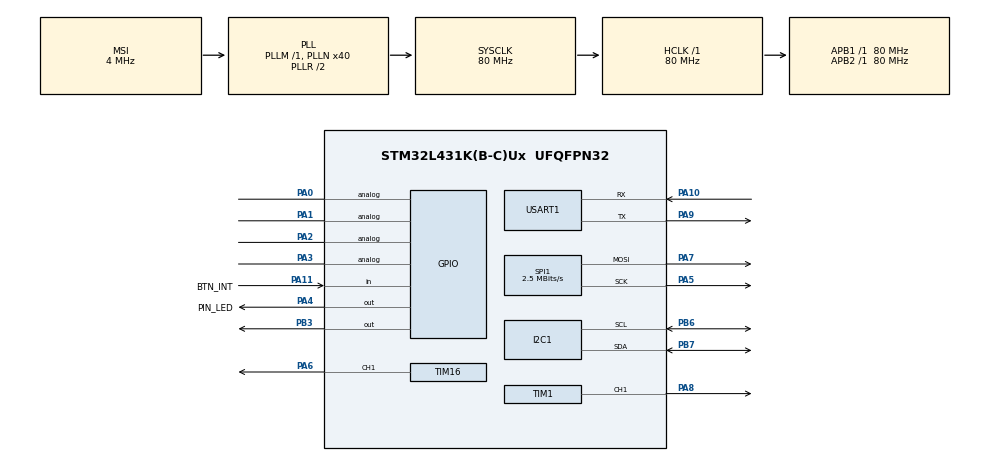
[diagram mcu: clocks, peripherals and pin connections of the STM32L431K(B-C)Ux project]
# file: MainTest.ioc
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FREERTOS.HEAP_NUMBER=3
FREERTOS.Tasks01=defaultTask,24,512,StartDefaultTask,Default,NULL,Static,defaultTaskBuffer,defaultTaskControlBlock
FREERTOS.configCHECK_FOR_STACK_OVERFLOW=2
FREERTOS.configENABLE_FPU=1
FREERTOS.configIDLE_SHOULD_YIELD=1
FREERTOS.configTOTAL_HEAP_SIZE=512
FREERTOS.configUSE_NEWLIB_REENTRANT=1
FREERTOS.copyHeapFile=0
I2C1.Timeout=0x000083D0
I2C1.Timing=0x10909CEC
Mcu.Family=STM32L4
Mcu.Name=STM32L431K(B-C)Ux
Mcu.Package=UFQFPN32
NVIC.PriorityGroup=NVIC_PRIORITYGROUP_4
NVIC.SPI1_IRQn=true\:0\:0\:false\:true\:true\:1\:false\:true\:true
NVIC.TIM6_DAC_IRQn=true\:0\:0\:false\:false\:true\:false\:false\:true
NVIC.TimeBase=TIM6_DAC_IRQn
NVIC.TimeBaseIP=TIM6
NVIC.USART1_IRQn=true\:10\:0\:true\:false\:false\:true\:true\:false
PA0.Signal=GPIO_Analog
PA1.Signal=GPIO_Analog
PA10.Mode=Asynchronous
PA10.Signal=USART1_RX
PA11.GPIO_Label=BTN_INT
PA11.GPIO_PuPd=GPIO_PULLUP
PA11.Signal=GPIO_Input
PA2.Signal=GPIO_Analog
PA3.Signal=GPIO_Analog
PA4.GPIO_Label=PIN_LED
PA4.Signal=GPIO_Output
PA5.Mode=TX_Only_Simplex_Unidirect_Master
PA5.Signal=SPI1_SCK
PA6.Signal=S_TIM16_CH1
PA7.Mode=TX_Only_Simplex_Unidirect_Master
PA7.Signal=SPI1_MOSI
PA8.Signal=S_TIM1_CH1
PA9.Mode=Asynchronous
PA9.Signal=USART1_TX
PB3\ (JTDO-TRACESWO).Signal=GPIO_Output
PB6.Mode=I2C
PB6.Signal=I2C1_SCL
PB7.Mode=I2C
PB7.Signal=I2C1_SDA
ProjectManager.HeapSize=0x200
ProjectManager.StackSize=0x400
ProjectManager.TargetToolchain=STM32CubeIDE
RCC.AHBFreq_Value=80000000
RCC.APB1Freq_Value=80000000
RCC.APB1TimFreq_Value=80000000
RCC.APB2Freq_Value=80000000
RCC.APB2TimFreq_Value=80000000
RCC.CortexFreq_Value=80000000
RCC.HCLKFreq_Value=80000000
RCC.HSE_VALUE=8000000
RCC.HSI48_VALUE=48000000
RCC.HSI_VALUE=16000000
RCC.LSE_VALUE=32768
RCC.MSI_VALUE=4000000
RCC.PLLN=40
RCC.SYSCLKFreq_VALUE=80000000
RCC.SYSCLKSource=RCC_SYSCLKSOURCE_PLLCLK
RCC.VCOOutputFreq_Value=160000000
SH.S_TIM16_CH1.0=TIM16_CH1,Output Compare1 CH1
SH.S_TIM1_CH1.0=TIM1_CH1,PWM Generation1 CH1
SPI1.BaudRatePrescaler=SPI_BAUDRATEPRESCALER_32
SPI1.CalculateBaudRate=2.5 MBits/s
SPI1.DataSize=SPI_DATASIZE_6BIT
SPI1.Direction=SPI_DIRECTION_2LINES
SPI1.FirstBit=SPI_FIRSTBIT_LSB
SPI1.Mode=SPI_MODE_MASTER
SPI1.VirtualType=VM_MASTER
TIM1.Channel-PWM\ Generation1\ CH1=TIM_CHANNEL_1
TIM1.CounterMode=TIM_COUNTERMODE_DOWN
TIM1.Period=40
TIM1.Prescaler=2000
TIM1.Pulse-PWM\ Generation1\ CH1=20
TIM16.Channel=TIM_CHANNEL_1
TIM16.OCMode_1=TIM_OCMODE_TOGGLE
TIM16.Prescaler=2000
TIM2.Prescaler=1
USART1.VirtualMode-Asynchronous=VM_ASYNC
VP_FREERTOS_VS_CMSIS_V2.Mode=CMSIS_V2
VP_SYS_VS_tim6.Mode=TIM6
VP_TIM16_VS_ClockSourceINT.Mode=Enable_Timer
VP_TIM1_VS_ClockSourceINT.Mode=Internal
VP_TIM2_VS_ClockSourceINT.Mode=Internal
board=custom

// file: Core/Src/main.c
/* USER CODE BEGIN Header */
/**
  ******************************************************************************
  * @file           : main.c
  * @brief          : Main program body
  ******************************************************************************
  * @attention
  *
  * <h2><center>&copy; Copyright (c) 2020 STMicroelectronics.
  * All rights reserved.</center></h2>
  *
  * This software component is licensed by ST under BSD 3-Clause license,
  * the "License"; You may not use this file except in compliance with the
  * License. You may obtain a copy of the License at:
  *                        opensource.org/licenses/BSD-3-Clause
  *
  ******************************************************************************
  */
/* USER CODE END Header */

#include "main.h"
#include "cmsis_os.h"

/* USER CODE BEGIN Includes */
#include "glow_test.h"
/* USER CODE END Includes */

typedef StaticTask_t osStaticThreadDef_t;

I2C_HandleTypeDef hi2c1;

SPI_HandleTypeDef hspi1;

TIM_HandleTypeDef htim1;
TIM_HandleTypeDef htim2;
TIM_HandleTypeDef htim16;

/* Definitions for defaultTask */
osThreadId_t defaultTaskHandle;
uint32_t defaultTaskBuffer[ 512 ];
osStaticThreadDef_t defaultTaskControlBlock;
const osThreadAttr_t defaultTask_attributes = {
  .name = "defaultTask",
  .stack_mem = &defaultTaskBuffer[0],
  .stack_size = sizeof(defaultTaskBuffer),
  .cb_mem = &defaultTaskControlBlock,
  .cb_size = sizeof(defaultTaskControlBlock),
  .priority = (osPriority_t) osPriorityNormal,
};

void SystemClock_Config(void);
static void MX_GPIO_Init(void);
static void MX_I2C1_Init(void);
static void MX_SPI1_Init(void);
static void MX_TIM1_Init(void);
static void MX_TIM2_Init(void);
static void MX_TIM16_Init(void);
static void MX_USART1_UART_Init(void);
void StartDefaultTask(void *argument);

static void MX_NVIC_Init(void);

/* USER CODE BEGIN 0 */
void SWO_Init() {
  uint32_t SWOSpeed = 64000; /* default 64k baud rate */
  uint32_t SWOPrescaler = (80000000/ SWOSpeed) - 1; /* SWOSpeed in Hz, note that cpuCoreFreqHz is expected to be match the CPU core clock */

  *((volatile unsigned *)(ITM_BASE + 0x00FB0)) = 0xC5ACCE55; /* ITM Lock Access Register, C5ACCE55 enables more write access to Control Register 0xE00 :: 0xFFC */

  CoreDebug->DEMCR = CoreDebug_DEMCR_TRCENA_Msk; /* enable trace in core debug */
    *((volatile unsigned *)(ITM_BASE + 0x400F0)) = 0x00000002; /* "Selected PIN Protocol Register": Select which protocol to use for trace output (2: SWO NRZ, 1: SWO Manchester encoding) */
    *((volatile unsigned *)(ITM_BASE + 0x40010)) = SWOPrescaler; /* "Async Clock Prescaler Register". Scale the baud rate of the asynchronous output */
    ITM->TCR = ITM_TCR_TraceBusID_Msk | ITM_TCR_SWOENA_Msk | ITM_TCR_SYNCENA_Msk | ITM_TCR_ITMENA_Msk; /* ITM Trace Control Register */
    ITM->TPR = ITM_TPR_PRIVMASK_Msk; /* ITM Trace Privilege Register */
    ITM->TER = 1; /* ITM Trace Enable Register. Enabled tracing on stimulus ports. One bit per stimulus port. */
    *((volatile unsigned *)(ITM_BASE + 0x01000)) = 0x400003FE; /* DWT_CTRL */
}
/* USER CODE END 0 */

int main(void)
{

  /* MCU Configuration--------------------------------------------------------*/

  /* Reset of all peripherals, Initializes the Flash interface and the Systick. */
  HAL_Init();

  /* Configure the system clock */
  SystemClock_Config();

  /* Initialize all configured peripherals */
  MX_GPIO_Init();
  MX_I2C1_Init();
  MX_SPI1_Init();
  MX_TIM1_Init();
  MX_TIM2_Init();
  MX_TIM16_Init();
  MX_USART1_UART_Init();

  /* Initialize interrupts */
  MX_NVIC_Init();
  /* USER CODE BEGIN 2 */
  SWO_Init();
  /* USER CODE END 2 */

  /* Init scheduler */
  osKernelInitialize();

  /* Create the thread(s) */
  /* creation of defaultTask */
  defaultTaskHandle = osThreadNew(StartDefaultTask, NULL, &defaultTask_attributes);

  /* Start scheduler */
  osKernelStart();

  /* We should never get here as control is now taken by the scheduler */
  /* Infinite loop */
  while (1)
  {

  }
}

void SystemClock_Config(void)
{
  RCC_OscInitTypeDef RCC_OscInitStruct = {0};
  RCC_ClkInitTypeDef RCC_ClkInitStruct = {0};
  RCC_PeriphCLKInitTypeDef PeriphClkInit = {0};

  /** Initializes the CPU, AHB and APB busses clocks
  */
  RCC_OscInitStruct.OscillatorType = RCC_OSCILLATORTYPE_MSI;
  RCC_OscInitStruct.MSIState = RCC_MSI_ON;
  RCC_OscInitStruct.MSICalibrationValue = 0;
  RCC_OscInitStruct.MSIClockRange = RCC_MSIRANGE_6;
  RCC_OscInitStruct.PLL.PLLState = RCC_PLL_ON;
  RCC_OscInitStruct.PLL.PLLSource = RCC_PLLSOURCE_MSI;
  RCC_OscInitStruct.PLL.PLLM = 1;
  RCC_OscInitStruct.PLL.PLLN = 40;
  RCC_OscInitStruct.PLL.PLLP = RCC_PLLP_DIV7;
  RCC_OscInitStruct.PLL.PLLQ = RCC_PLLQ_DIV2;
  RCC_OscInitStruct.PLL.PLLR = RCC_PLLR_DIV2;
  if (HAL_RCC_OscConfig(&RCC_OscInitStruct) != HAL_OK)
  {
    Error_Handler();
  }
  /** Initializes the CPU, AHB and APB busses clocks
  */
  RCC_ClkInitStruct.ClockType = RCC_CLOCKTYPE_HCLK|RCC_CLOCKTYPE_SYSCLK
                              |RCC_CLOCKTYPE_PCLK1|RCC_CLOCKTYPE_PCLK2;
  RCC_ClkInitStruct.SYSCLKSource = RCC_SYSCLKSOURCE_PLLCLK;
  RCC_ClkInitStruct.AHBCLKDivider = RCC_SYSCLK_DIV1;
  RCC_ClkInitStruct.APB1CLKDivider = RCC_HCLK_DIV1;
  RCC_ClkInitStruct.APB2CLKDivider = RCC_HCLK_DIV1;

  if (HAL_RCC_ClockConfig(&RCC_ClkInitStruct, FLASH_LATENCY_4) != HAL_OK)
  {
    Error_Handler();
  }
  PeriphClkInit.PeriphClockSelection = RCC_PERIPHCLK_USART1|RCC_PERIPHCLK_I2C1;
  PeriphClkInit.Usart1ClockSelection = RCC_USART1CLKSOURCE_PCLK2;
  PeriphClkInit.I2c1ClockSelection = RCC_I2C1CLKSOURCE_PCLK1;
  if (HAL_RCCEx_PeriphCLKConfig(&PeriphClkInit) != HAL_OK)
  {
    Error_Handler();
  }
  /** Configure the main internal regulator output voltage
  */
  if (HAL_PWREx_ControlVoltageScaling(PWR_REGULATOR_VOLTAGE_SCALE1) != HAL_OK)
  {
    Error_Handler();
  }
}

/**
  * @brief NVIC Configuration.
  * @retval None
  */
static void MX_NVIC_Init(void)
{
  /* SPI1_IRQn interrupt configuration */
  HAL_NVIC_SetPriority(SPI1_IRQn, 0, 0);
  HAL_NVIC_EnableIRQ(SPI1_IRQn);
}

static void MX_I2C1_Init(void)
{

  hi2c1.Instance = I2C1;
  hi2c1.Init.Timing = 0x10909CEC;
  hi2c1.Init.OwnAddress1 = 0;
  hi2c1.Init.AddressingMode = I2C_ADDRESSINGMODE_7BIT;
  hi2c1.Init.DualAddressMode = I2C_DUALADDRESS_DISABLE;
  hi2c1.Init.OwnAddress2 = 0;
  hi2c1.Init.OwnAddress2Masks = I2C_OA2_NOMASK;
  hi2c1.Init.GeneralCallMode = I2C_GENERALCALL_DISABLE;
  hi2c1.Init.NoStretchMode = I2C_NOSTRETCH_DISABLE;
  if (HAL_I2C_Init(&hi2c1) != HAL_OK)
  {
    Error_Handler();
  }
  /** Configure Analogue filter
  */
  if (HAL_I2CEx_ConfigAnalogFilter(&hi2c1, I2C_ANALOGFILTER_ENABLE) != HAL_OK)
  {
    Error_Handler();
  }
  /** Configure Digital filter
  */
  if (HAL_I2CEx_ConfigDigitalFilter(&hi2c1, 0) != HAL_OK)
  {
    Error_Handler();
  }

}

static void MX_SPI1_Init(void)
{

  /* SPI1 parameter configuration*/
  hspi1.Instance = SPI1;
  hspi1.Init.Mode = SPI_MODE_MASTER;
  hspi1.Init.Direction = SPI_DIRECTION_2LINES;
  hspi1.Init.DataSize = SPI_DATASIZE_6BIT;
  hspi1.Init.CLKPolarity = SPI_POLARITY_LOW;
  hspi1.Init.CLKPhase = SPI_PHASE_1EDGE;
  hspi1.Init.NSS = SPI_NSS_SOFT;
  hspi1.Init.BaudRatePrescaler = SPI_BAUDRATEPRESCALER_32;
  hspi1.Init.FirstBit = SPI_FIRSTBIT_LSB;
  hspi1.Init.TIMode = SPI_TIMODE_DISABLE;
  hspi1.Init.CRCCalculation = SPI_CRCCALCULATION_DISABLE;
  hspi1.Init.CRCPolynomial = 7;
  hspi1.Init.CRCLength = SPI_CRC_LENGTH_DATASIZE;
  hspi1.Init.NSSPMode = SPI_NSS_PULSE_ENABLE;
  if (HAL_SPI_Init(&hspi1) != HAL_OK)
  {
    Error_Handler();
  }

}

static void MX_TIM1_Init(void)
{

  TIM_ClockConfigTypeDef sClockSourceConfig = {0};
  TIM_MasterConfigTypeDef sMasterConfig = {0};
  TIM_OC_InitTypeDef sConfigOC = {0};
  TIM_BreakDeadTimeConfigTypeDef sBreakDeadTimeConfig = {0};

  htim1.Instance = TIM1;
  htim1.Init.Prescaler = 2000;
  htim1.Init.CounterMode = TIM_COUNTERMODE_DOWN;
  htim1.Init.Period = 40;
  htim1.Init.ClockDivision = TIM_CLOCKDIVISION_DIV1;
  htim1.Init.RepetitionCounter = 0;
  htim1.Init.AutoReloadPreload = TIM_AUTORELOAD_PRELOAD_DISABLE;
  if (HAL_TIM_Base_Init(&htim1) != HAL_OK)
  {
    Error_Handler();
  }
  sClockSourceConfig.ClockSource = TIM_CLOCKSOURCE_INTERNAL;
  if (HAL_TIM_ConfigClockSource(&htim1, &sClockSourceConfig) != HAL_OK)
  {
    Error_Handler();
  }
  if (HAL_TIM_PWM_Init(&htim1) != HAL_OK)
  {
    Error_Handler();
  }
  sMasterConfig.MasterOutputTrigger = TIM_TRGO_RESET;
  sMasterConfig.MasterOutputTrigger2 = TIM_TRGO2_RESET;
  sMasterConfig.MasterSlaveMode = TIM_MASTERSLAVEMODE_DISABLE;
  if (HAL_TIMEx_MasterConfigSynchronization(&htim1, &sMasterConfig) != HAL_OK)
  {
    Error_Handler();
  }
  sConfigOC.OCMode = TIM_OCMODE_PWM1;
  sConfigOC.Pulse = 20;
  sConfigOC.OCPolarity = TIM_OCPOLARITY_HIGH;
  sConfigOC.OCNPolarity = TIM_OCNPOLARITY_HIGH;
  sConfigOC.OCFastMode = TIM_OCFAST_DISABLE;
  sConfigOC.OCIdleState = TIM_OCIDLESTATE_RESET;
  sConfigOC.OCNIdleState = TIM_OCNIDLESTATE_RESET;
  if (HAL_TIM_PWM_ConfigChannel(&htim1, &sConfigOC, TIM_CHANNEL_1) != HAL_OK)
  {
    Error_Handler();
  }
  sBreakDeadTimeConfig.OffStateRunMode = TIM_OSSR_DISABLE;
  sBreakDeadTimeConfig.OffStateIDLEMode = TIM_OSSI_DISABLE;
  sBreakDeadTimeConfig.LockLevel = TIM_LOCKLEVEL_OFF;
  sBreakDeadTimeConfig.DeadTime = 0;
  sBreakDeadTimeConfig.BreakState = TIM_BREAK_DISABLE;
  sBreakDeadTimeConfig.BreakPolarity = TIM_BREAKPOLARITY_HIGH;
  sBreakDeadTimeConfig.BreakFilter = 0;
  sBreakDeadTimeConfig.Break2State = TIM_BREAK2_DISABLE;
  sBreakDeadTimeConfig.Break2Polarity = TIM_BREAK2POLARITY_HIGH;
  sBreakDeadTimeConfig.Break2Filter = 0;
  sBreakDeadTimeConfig.AutomaticOutput = TIM_AUTOMATICOUTPUT_DISABLE;
  if (HAL_TIMEx_ConfigBreakDeadTime(&htim1, &sBreakDeadTimeConfig) != HAL_OK)
  {
    Error_Handler();
  }
  /* USER CODE BEGIN TIM1_Init 2 */
  HAL_TIM_Base_Start(&htim1);
  /* USER CODE END TIM1_Init 2 */
  HAL_TIM_MspPostInit(&htim1);

}

static void MX_TIM2_Init(void)
{

  TIM_ClockConfigTypeDef sClockSourceConfig = {0};
  TIM_MasterConfigTypeDef sMasterConfig = {0};

  htim2.Instance = TIM2;
  htim2.Init.Prescaler = 1;
  htim2.Init.CounterMode = TIM_COUNTERMODE_UP;
  htim2.Init.Period = 0;
  htim2.Init.ClockDivision = TIM_CLOCKDIVISION_DIV1;
  htim2.Init.AutoReloadPreload = TIM_AUTORELOAD_PRELOAD_DISABLE;
  if (HAL_TIM_Base_Init(&htim2) != HAL_OK)
  {
    Error_Handler();
  }
  sClockSourceConfig.ClockSource = TIM_CLOCKSOURCE_INTERNAL;
  if (HAL_TIM_ConfigClockSource(&htim2, &sClockSourceConfig) != HAL_OK)
  {
    Error_Handler();
  }
  sMasterConfig.MasterOutputTrigger = TIM_TRGO_RESET;
  sMasterConfig.MasterSlaveMode = TIM_MASTERSLAVEMODE_DISABLE;
  if (HAL_TIMEx_MasterConfigSynchronization(&htim2, &sMasterConfig) != HAL_OK)
  {
    Error_Handler();
  }
  /* USER CODE BEGIN TIM2_Init 2 */
  HAL_TIM_Base_Start(&htim2);
  /* USER CODE END TIM2_Init 2 */

}

static void MX_TIM16_Init(void)
{

  TIM_OC_InitTypeDef sConfigOC = {0};
  TIM_BreakDeadTimeConfigTypeDef sBreakDeadTimeConfig = {0};

  htim16.Instance = TIM16;
  htim16.Init.Prescaler = 2000;
  htim16.Init.CounterMode = TIM_COUNTERMODE_UP;
  htim16.Init.Period = 0;
  htim16.Init.ClockDivision = TIM_CLOCKDIVISION_DIV1;
  htim16.Init.RepetitionCounter = 0;
  htim16.Init.AutoReloadPreload = TIM_AUTORELOAD_PRELOAD_DISABLE;
  if (HAL_TIM_Base_Init(&htim16) != HAL_OK)
  {
    Error_Handler();
  }
  if (HAL_TIM_OC_Init(&htim16) != HAL_OK)
  {
    Error_Handler();
  }
  sConfigOC.OCMode = TIM_OCMODE_TOGGLE;
  sConfigOC.Pulse = 0;
  sConfigOC.OCPolarity = TIM_OCPOLARITY_HIGH;
  sConfigOC.OCNPolarity = TIM_OCNPOLARITY_HIGH;
  sConfigOC.OCFastMode = TIM_OCFAST_DISABLE;
  sConfigOC.OCIdleState = TIM_OCIDLESTATE_RESET;
  sConfigOC.OCNIdleState = TIM_OCNIDLESTATE_RESET;
  if (HAL_TIM_OC_ConfigChannel(&htim16, &sConfigOC, TIM_CHANNEL_1) != HAL_OK)
  {
    Error_Handler();
  }
  sBreakDeadTimeConfig.OffStateRunMode = TIM_OSSR_DISABLE;
  sBreakDeadTimeConfig.OffStateIDLEMode = TIM_OSSI_DISABLE;
  sBreakDeadTimeConfig.LockLevel = TIM_LOCKLEVEL_OFF;
  sBreakDeadTimeConfig.DeadTime = 0;
  sBreakDeadTimeConfig.BreakState = TIM_BREAK_DISABLE;
  sBreakDeadTimeConfig.BreakPolarity = TIM_BREAKPOLARITY_HIGH;
  sBreakDeadTimeConfig.AutomaticOutput = TIM_AUTOMATICOUTPUT_DISABLE;
  if (HAL_TIMEx_ConfigBreakDeadTime(&htim16, &sBreakDeadTimeConfig) != HAL_OK)
  {
    Error_Handler();
  }
  HAL_TIM_MspPostInit(&htim16);

}

static void MX_USART1_UART_Init(void)
{

  LL_USART_InitTypeDef USART_InitStruct = {0};

  LL_GPIO_InitTypeDef GPIO_InitStruct = {0};

  /* Peripheral clock enable */
  LL_APB2_GRP1_EnableClock(LL_APB2_GRP1_PERIPH_USART1);

  LL_AHB2_GRP1_EnableClock(LL_AHB2_GRP1_PERIPH_GPIOA);
  /**USART1 GPIO Configuration
  PA9   ------> USART1_TX
  PA10   ------> USART1_RX
  */
  GPIO_InitStruct.Pin = LL_GPIO_PIN_9|LL_GPIO_PIN_10;
  GPIO_InitStruct.Mode = LL_GPIO_MODE_ALTERNATE;
  GPIO_InitStruct.Speed = LL_GPIO_SPEED_FREQ_VERY_HIGH;
  GPIO_InitStruct.OutputType = LL_GPIO_OUTPUT_PUSHPULL;
  GPIO_InitStruct.Pull = LL_GPIO_PULL_NO;
  GPIO_InitStruct.Alternate = LL_GPIO_AF_7;
  LL_GPIO_Init(GPIOA, &GPIO_InitStruct);

  /* USART1 interrupt Init */
  NVIC_SetPriority(USART1_IRQn, NVIC_EncodePriority(NVIC_GetPriorityGrouping(),10, 0));
  NVIC_EnableIRQ(USART1_IRQn);

  USART_InitStruct.BaudRate = 115200;
  USART_InitStruct.DataWidth = LL_USART_DATAWIDTH_8B;
  USART_InitStruct.StopBits = LL_USART_STOPBITS_1;
  USART_InitStruct.Parity = LL_USART_PARITY_NONE;
  USART_InitStruct.TransferDirection = LL_USART_DIRECTION_TX_RX;
  USART_InitStruct.HardwareFlowControl = LL_USART_HWCONTROL_NONE;
  USART_InitStruct.OverSampling = LL_USART_OVERSAMPLING_16;
  LL_USART_Init(USART1, &USART_InitStruct);
  LL_USART_ConfigAsyncMode(USART1);
  LL_USART_Enable(USART1);

}

static void MX_GPIO_Init(void)
{
  GPIO_InitTypeDef GPIO_InitStruct = {0};

  /* GPIO Ports Clock Enable */
  __HAL_RCC_GPIOA_CLK_ENABLE();
  __HAL_RCC_GPIOB_CLK_ENABLE();

  /*Configure GPIO pin Output Level */
  HAL_GPIO_WritePin(PIN_LED_GPIO_Port, PIN_LED_Pin, GPIO_PIN_RESET);

  /*Configure GPIO pin Output Level */
  HAL_GPIO_WritePin(GPIOB, GPIO_PIN_3, GPIO_PIN_RESET);

  /*Configure GPIO pins : PA0 PA1 PA2 PA3 */
  GPIO_InitStruct.Pin = GPIO_PIN_0|GPIO_PIN_1|GPIO_PIN_2|GPIO_PIN_3;
  GPIO_InitStruct.Mode = GPIO_MODE_ANALOG;
  GPIO_InitStruct.Pull = GPIO_NOPULL;
  HAL_GPIO_Init(GPIOA, &GPIO_InitStruct);

  /*Configure GPIO pin : PIN_LED_Pin */
  GPIO_InitStruct.Pin = PIN_LED_Pin;
  GPIO_InitStruct.Mode = GPIO_MODE_OUTPUT_PP;
  GPIO_InitStruct.Pull = GPIO_NOPULL;
  GPIO_InitStruct.Speed = GPIO_SPEED_FREQ_LOW;
  HAL_GPIO_Init(PIN_LED_GPIO_Port, &GPIO_InitStruct);

  /*Configure GPIO pin : BTN_INT_Pin */
  GPIO_InitStruct.Pin = BTN_INT_Pin;
  GPIO_InitStruct.Mode = GPIO_MODE_INPUT;
  GPIO_InitStruct.Pull = GPIO_PULLUP;
  HAL_GPIO_Init(BTN_INT_GPIO_Port, &GPIO_InitStruct);

}

void StartDefaultTask(void *argument)
{
  /* USER CODE BEGIN 5 */
  /* Infinite loop */
  for(;;)
  {
    osDelay(10);
    testGlow();
  }
  /* USER CODE END 5 */
}

 /**
  * @brief  Period elapsed callback in non blocking mode
  * @note   This function is called  when TIM6 interrupt took place, inside
  * HAL_TIM_IRQHandler(). It makes a direct call to HAL_IncTick() to increment
  * a global variable "uwTick" used as application time base.
  * @param  htim : TIM handle
  * @retval None
  */
void HAL_TIM_PeriodElapsedCallback(TIM_HandleTypeDef *htim)
{
  if (htim->Instance == TIM6) {
    HAL_IncTick();
  }
}

void Error_Handler(void)
{
}

/************************ (C) COPYRIGHT STMicroelectronics *****END OF FILE****/

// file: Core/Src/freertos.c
/* USER CODE BEGIN Header */
/**
  ******************************************************************************
  * File Name          : freertos.c
  * Description        : Code for freertos applications
  ******************************************************************************
  * @attention
  *
  * <h2><center>&copy; Copyright (c) 2020 STMicroelectronics.
  * All rights reserved.</center></h2>
  *
  * This software component is licensed by ST under Ultimate Liberty license
  * SLA0044, the "License"; You may not use this file except in compliance with
  * the License. You may obtain a copy of the License at:
  *                             www.st.com/SLA0044
  *
  ******************************************************************************
  */
/* USER CODE END Header */

#include "FreeRTOS.h"
#include "task.h"
#include "main.h"

/* Hook prototypes */
void vApplicationStackOverflowHook(xTaskHandle xTask, signed char *pcTaskName);

/* USER CODE BEGIN 4 */
__weak void vApplicationStackOverflowHook(xTaskHandle xTask, signed char *pcTaskName)
{
   /* Run time stack overflow checking is performed if
   configCHECK_FOR_STACK_OVERFLOW is defined to 1 or 2. This hook function is
   called if a stack overflow is detected. */
}
/* USER CODE END 4 */

/************************ (C) COPYRIGHT STMicroelectronics *****END OF FILE****/
